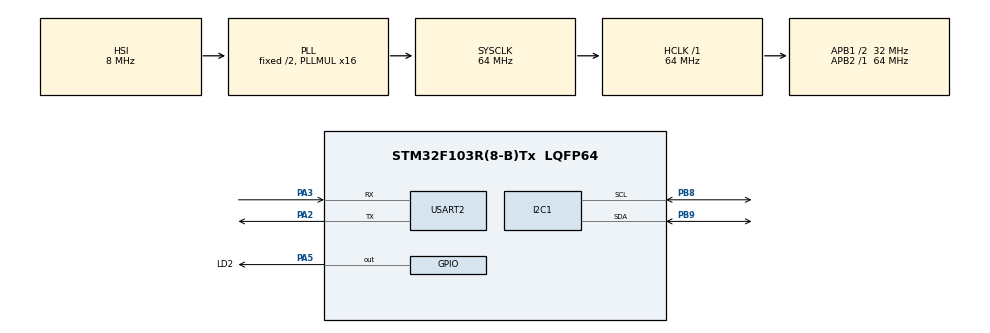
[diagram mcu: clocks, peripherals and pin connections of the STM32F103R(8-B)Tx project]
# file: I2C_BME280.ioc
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I2C1.I2C_Mode=I2C_Fast
Mcu.Family=STM32F1
Mcu.Name=STM32F103R(8-B)Tx
Mcu.Package=LQFP64
NVIC.PriorityGroup=NVIC_PRIORITYGROUP_4
PA13.Mode=Serial_Wire
PA13.Signal=SYS_JTMS-SWDIO
PA14.Mode=Serial_Wire
PA14.Signal=SYS_JTCK-SWCLK
PA2.Mode=Asynchronous
PA2.Signal=USART2_TX
PA3.Mode=Asynchronous
PA3.Signal=USART2_RX
PA5.GPIO_Label=LD2
PA5.Signal=GPIO_Output
PB8.Mode=I2C
PB8.Signal=I2C1_SCL
PB9.Mode=I2C
PB9.Signal=I2C1_SDA
ProjectManager.HeapSize=0x200
ProjectManager.StackSize=0x400
ProjectManager.TargetToolchain=STM32CubeIDE
RCC.AHBFreq_Value=64000000
RCC.APB1CLKDivider=RCC_HCLK_DIV2
RCC.APB1Freq_Value=32000000
RCC.APB1TimFreq_Value=64000000
RCC.APB2Freq_Value=64000000
RCC.APB2TimFreq_Value=64000000
RCC.HCLKFreq_Value=64000000
RCC.PLLMUL=RCC_PLL_MUL16
RCC.SYSCLKFreq_VALUE=64000000
RCC.SYSCLKSource=RCC_SYSCLKSOURCE_PLLCLK
RCC.USBFreq_Value=64000000
USART2.VirtualMode=VM_ASYNC
board=custom

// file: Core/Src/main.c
/* USER CODE BEGIN Header */
/**
  ******************************************************************************
  * @file           : main.c
  * @brief          : Main program body
  ******************************************************************************
  * @attention
  *
  * <h2><center>&copy; Copyright (c) 2021 STMicroelectronics.
  * All rights reserved.</center></h2>
  *
  * This software component is licensed by ST under BSD 3-Clause license,
  * the "License"; You may not use this file except in compliance with the
  * License. You may obtain a copy of the License at:
  *                        opensource.org/licenses/BSD-3-Clause
  *
  ******************************************************************************
  */
/* USER CODE END Header */
#include "main.h"

/* USER CODE BEGIN Includes */
#include <stdio.h>
#include "bme280.h"
/* USER CODE END Includes */

/* USER CODE BEGIN PD */
void user_delay_ms(uint32_t period, void *intf_ptr);
int8_t user_i2c_write(uint8_t reg_addr, const uint8_t *data, uint32_t len, void *intf_ptr);
int8_t user_i2c_read(uint8_t reg_addr, uint8_t *data, uint32_t len, void *intf_ptr);
int8_t stream_sensor_data_forced_mode(struct bme280_dev *dev);
void print_sensor_data(struct bme280_data *comp_data);

/* USER CODE END PD */

I2C_HandleTypeDef hi2c1;

UART_HandleTypeDef huart2;

void SystemClock_Config(void);
static void MX_GPIO_Init(void);
static void MX_USART2_UART_Init(void);
static void MX_I2C1_Init(void);

/* USER CODE BEGIN 0 */
#ifdef __GNUC__
#define PUTCHAR_PROTOTYPE int __io_putchar(int ch)
#else
#define PUTCHAR_PROTOTYPE int fputc(int ch,FILE *f)
#endif

PUTCHAR_PROTOTYPE
{
	if (ch == '\n')
		HAL_UART_Transmit (&huart2, (uint8_t*) "\r", 1, 0xFFFF);
	HAL_UART_Transmit (&huart2, (uint8_t*) &ch, 1, 0xFFFF);
	return ch;
}
/* USER CODE END 0 */

int main(void)
{

  /* MCU Configuration--------------------------------------------------------*/

  /* Reset of all peripherals, Initializes the Flash interface and the Systick. */
  HAL_Init();

  /* Configure the system clock */
  SystemClock_Config();

  /* Initialize all configured peripherals */
  MX_GPIO_Init();
  MX_USART2_UART_Init();
  MX_I2C1_Init();
  /* USER CODE BEGIN 2 */

  printf ("\nBME280\n");
  /* USER CODE END 2 */

  /* Infinite loop */
  /* USER CODE BEGIN WHILE */

  // chip id read
#if 0
  uint8_t buf[1];
  uint8_t buf2[1];
  HAL_StatusTypeDef error;

  // read register
  buf[0] = BMP280_CHIP_ID_ADDR;
  error = HAL_I2C_Master_Transmit (&hi2c1, BMP280_I2C_ADDR_PRIM << 1, buf, 1, 100);
  if (error != HAL_OK) printf ("error \n");

  HAL_Delay(100);

  error = HAL_I2C_Master_Receive(&hi2c1, BMP280_I2C_ADDR_PRIM << 1, buf2, 1, 100);
  if (error != HAL_OK) printf ("error receive \n");

  printf ("Chip ID: %X\n", buf2[0]);

#else
  struct bme280_dev dev;
  int8_t rslt = BME280_OK;
  uint8_t dev_addr = BME280_I2C_ADDR_PRIM;

  dev.intf_ptr = &dev_addr;
  dev.intf = BME280_I2C_INTF;
  dev.read = user_i2c_read;
  dev.write = user_i2c_write;
  dev.delay_us = user_delay_ms;

  rslt = bme280_init(&dev);

  if (rslt == BME280_OK)
  {
	  printf("Chip ID: 0x%X\n", dev.chip_id);
	  printf("Cal Data dig_h1: 0x%X\n", dev.calib_data.dig_h1);
	  printf("Cal Data dig_h2: %d\n", dev.calib_data.dig_h2);
  }
  else
  {
	  printf("Init Error");
  }

  rslt = stream_sensor_data_forced_mode(&dev);

#endif
  while (1)
  {
    /* USER CODE END WHILE */

  }
}

void SystemClock_Config(void)
{
  RCC_OscInitTypeDef RCC_OscInitStruct = {0};
  RCC_ClkInitTypeDef RCC_ClkInitStruct = {0};

  /** Initializes the RCC Oscillators according to the specified parameters
  * in the RCC_OscInitTypeDef structure.
  */
  RCC_OscInitStruct.OscillatorType = RCC_OSCILLATORTYPE_HSI;
  RCC_OscInitStruct.HSIState = RCC_HSI_ON;
  RCC_OscInitStruct.HSICalibrationValue = RCC_HSICALIBRATION_DEFAULT;
  RCC_OscInitStruct.PLL.PLLState = RCC_PLL_ON;
  RCC_OscInitStruct.PLL.PLLSource = RCC_PLLSOURCE_HSI_DIV2;
  RCC_OscInitStruct.PLL.PLLMUL = RCC_PLL_MUL16;
  if (HAL_RCC_OscConfig(&RCC_OscInitStruct) != HAL_OK)
  {
    Error_Handler();
  }
  /** Initializes the CPU, AHB and APB buses clocks
  */
  RCC_ClkInitStruct.ClockType = RCC_CLOCKTYPE_HCLK|RCC_CLOCKTYPE_SYSCLK
                              |RCC_CLOCKTYPE_PCLK1|RCC_CLOCKTYPE_PCLK2;
  RCC_ClkInitStruct.SYSCLKSource = RCC_SYSCLKSOURCE_PLLCLK;
  RCC_ClkInitStruct.AHBCLKDivider = RCC_SYSCLK_DIV1;
  RCC_ClkInitStruct.APB1CLKDivider = RCC_HCLK_DIV2;
  RCC_ClkInitStruct.APB2CLKDivider = RCC_HCLK_DIV1;

  if (HAL_RCC_ClockConfig(&RCC_ClkInitStruct, FLASH_LATENCY_2) != HAL_OK)
  {
    Error_Handler();
  }
}

static void MX_I2C1_Init(void)
{

  hi2c1.Instance = I2C1;
  hi2c1.Init.ClockSpeed = 400000;
  hi2c1.Init.DutyCycle = I2C_DUTYCYCLE_2;
  hi2c1.Init.OwnAddress1 = 0;
  hi2c1.Init.AddressingMode = I2C_ADDRESSINGMODE_7BIT;
  hi2c1.Init.DualAddressMode = I2C_DUALADDRESS_DISABLE;
  hi2c1.Init.OwnAddress2 = 0;
  hi2c1.Init.GeneralCallMode = I2C_GENERALCALL_DISABLE;
  hi2c1.Init.NoStretchMode = I2C_NOSTRETCH_DISABLE;
  if (HAL_I2C_Init(&hi2c1) != HAL_OK)
  {
    Error_Handler();
  }

}

static void MX_USART2_UART_Init(void)
{

  huart2.Instance = USART2;
  huart2.Init.BaudRate = 115200;
  huart2.Init.WordLength = UART_WORDLENGTH_8B;
  huart2.Init.StopBits = UART_STOPBITS_1;
  huart2.Init.Parity = UART_PARITY_NONE;
  huart2.Init.Mode = UART_MODE_TX_RX;
  huart2.Init.HwFlowCtl = UART_HWCONTROL_NONE;
  huart2.Init.OverSampling = UART_OVERSAMPLING_16;
  if (HAL_UART_Init(&huart2) != HAL_OK)
  {
    Error_Handler();
  }

}

static void MX_GPIO_Init(void)
{
  GPIO_InitTypeDef GPIO_InitStruct = {0};

  /* GPIO Ports Clock Enable */
  __HAL_RCC_GPIOA_CLK_ENABLE();
  __HAL_RCC_GPIOB_CLK_ENABLE();

  /*Configure GPIO pin Output Level */
  HAL_GPIO_WritePin(LD2_GPIO_Port, LD2_Pin, GPIO_PIN_RESET);

  /*Configure GPIO pin : LD2_Pin */
  GPIO_InitStruct.Pin = LD2_Pin;
  GPIO_InitStruct.Mode = GPIO_MODE_OUTPUT_PP;
  GPIO_InitStruct.Pull = GPIO_NOPULL;
  GPIO_InitStruct.Speed = GPIO_SPEED_FREQ_LOW;
  HAL_GPIO_Init(LD2_GPIO_Port, &GPIO_InitStruct);

}

/* USER CODE BEGIN 4 */
/*!
 *  @brief Function for writing the sensor's registers through I2C bus.
 *
 *  @param[in] reg_addr       : Register address.
 *  @param[in] data           : Pointer to the data buffer whose value is to be written.
 *  @param[in] len            : No of bytes to write.
 *  @param[in, out] intf_ptr  : Void pointer that can enable the linking of descriptors
 *                                  for interface related call backs
 *
 *  @return Status of execution
 *
 *  @retval BME280_OK -> Success
 *  @retval BME280_E_COMM_FAIL -> Communication failure.
 *
 */
int8_t user_i2c_write(uint8_t reg_addr, const uint8_t *data, uint32_t len, void *intf_ptr)
{

    /* Implement the I2C write routine according to the target machine. */
	HAL_StatusTypeDef error;

	//printf("inf_ptr: %d", intf_ptr);

	uint8_t id = BME280_I2C_ADDR_PRIM;

	error = HAL_I2C_Master_Transmit (&hi2c1, id << 1, &reg_addr, 1, 100);
	if (error != HAL_OK)
	{
		return BME280_E_COMM_FAIL;
	}

	error = HAL_I2C_Master_Transmit (&hi2c1, id << 1, data, len, 100);
		if (error != HAL_OK)
		{
			return BME280_E_COMM_FAIL;
		}

	return BME280_OK;
}

/*!
 *  @brief Function for reading the sensor's registers through I2C bus.
 *
 *  @param[in] reg_addr       : Register address.
 *  @param[out] data          : Pointer to the data buffer to store the read data.
 *  @param[in] len            : No of bytes to read.
 *  @param[in, out] intf_ptr  : Void pointer that can enable the linking of descriptors
 *                                  for interface related call backs.
 *
 *  @return Status of execution
 *
 *  @retval 0 -> Success
 *  @retval > 0 -> Failure Info
 *
 */
int8_t user_i2c_read(uint8_t reg_addr, uint8_t *data, uint32_t len, void *intf_ptr)
{

    /* Implement the I2C read routine according to the target machine. */
	HAL_StatusTypeDef error;

	//printf("inf_ptr: %X", intf_ptr);

	uint8_t id = BME280_I2C_ADDR_PRIM;

	error = HAL_I2C_Master_Transmit (&hi2c1, id << 1, &reg_addr, 1, 100);
	if (error != HAL_OK)
	{
		return BME280_E_COMM_FAIL;
	}

	error = HAL_I2C_Master_Receive(&hi2c1, id << 1 | 0x01, data, len, 100);
	if (error != HAL_OK)
	{
		return BME280_E_COMM_FAIL;
	}
    return BME280_OK;
}

/*!
 *  @brief Function that creates a mandatory delay required in some of the APIs.
 *
 * @param[in] period              : Delay in microseconds.
 * @param[in, out] intf_ptr       : Void pointer that can enable the linking of descriptors
 *                                  for interface related call backs
 *  @return void.
 *
 */
void user_delay_ms(uint32_t period, void *intf_ptr)
{
	HAL_Delay(period);
}

/*!
 * @brief This API reads the sensor temperature, pressure and humidity data in forced mode.
 */
int8_t stream_sensor_data_forced_mode(struct bme280_dev *dev)
{
    int8_t rslt;
    uint8_t settings_sel;
    struct bme280_data comp_data;

    /* Recommended mode of operation: Indoor navigation */
    dev->settings.osr_h = BME280_OVERSAMPLING_1X;
    dev->settings.osr_p = BME280_OVERSAMPLING_16X;
    dev->settings.osr_t = BME280_OVERSAMPLING_2X;
    dev->settings.filter = BME280_FILTER_COEFF_16;

    settings_sel = BME280_OSR_PRESS_SEL | BME280_OSR_TEMP_SEL | BME280_OSR_HUM_SEL | BME280_FILTER_SEL;

    rslt = bme280_set_sensor_settings(settings_sel, dev);
    if (rslt != BME280_OK)
    {
        printf("Failed to set sensor settings (code %d).", rslt);

        return rslt;
    }

    printf("Temperature, Pressure, Humidity\n");

    /* Continuously stream sensor data */
    while (1)
    {
        rslt = bme280_set_sensor_mode(BME280_FORCED_MODE, dev);
        if (rslt != BME280_OK)
        {
            fprintf(stderr, "Failed to set sensor mode (code %+d).", rslt);
            break;
        }

        /* Wait for the measurement to complete and print data @25Hz */
        dev->delay_us(40000, dev->intf_ptr);
        rslt = bme280_get_sensor_data(BME280_ALL, &comp_data, dev);
        if (rslt != BME280_OK)
        {
            fprintf(stderr, "Failed to get sensor data (code %+d).", rslt);
            break;
        }

        print_sensor_data(&comp_data);
        dev->delay_us(1000000, dev->intf_ptr);
    }

    return rslt;
}

/*!
 * @brief This API used to print the sensor temperature, pressure and humidity data.
 */
void print_sensor_data(struct bme280_data *comp_data)
{
    float temp, press, hum;

	#ifdef BME280_FLOAT_ENABLE
		temp = comp_data->temperature;
		press = 0.01 * comp_data->pressure;
		hum = comp_data->humidity;
	#else
	#ifdef BME280_64BIT_ENABLE
		temp = 0.01f * comp_data->temperature;
		press = 0.0001f * comp_data->pressure;
		hum = 1.0f / 1024.0f * comp_data->humidity;
	#else
		temp = 0.01f * comp_data->temperature;
		press = 0.01f * comp_data->pressure;
		hum = 1.0f / 1024.0f * comp_data->humidity;
	#endif
	#endif
    printf("%0.2lf deg C, %0.2lf hPa, %0.2lf%%\n", temp, press, hum);
}

/*void print_rslt(const char api_name[], int8_t rslt)
{
    if (rslt != BMP280_OK)
    {
        printf("%s\t", api_name);
        if (rslt == BMP280_E_NULL_PTR)
        {
            printf("Error [%d] : Null pointer error\r\n", rslt);
        }
        else if (rslt == BMP280_E_COMM_FAIL)
        {
            printf("Error [%d] : Bus communication failed\r\n", rslt);
        }
        else if (rslt == BMP280_E_IMPLAUS_TEMP)
        {
            printf("Error [%d] : Invalid Temperature\r\n", rslt);
        }
        else if (rslt == BMP280_E_DEV_NOT_FOUND)
        {
            printf("Error [%d] : Device not found\r\n", rslt);
        }
        else
        {
            // For more error codes refer "*_defs.h"
            printf("Error [%d] : Unknown error code\r\n", rslt);
        }
    }
}*/
/* USER CODE END 4 */

void Error_Handler(void)
{
  __disable_irq();
  while (1)
  {
  }
}

/************************ (C) COPYRIGHT STMicroelectronics *****END OF FILE****/
